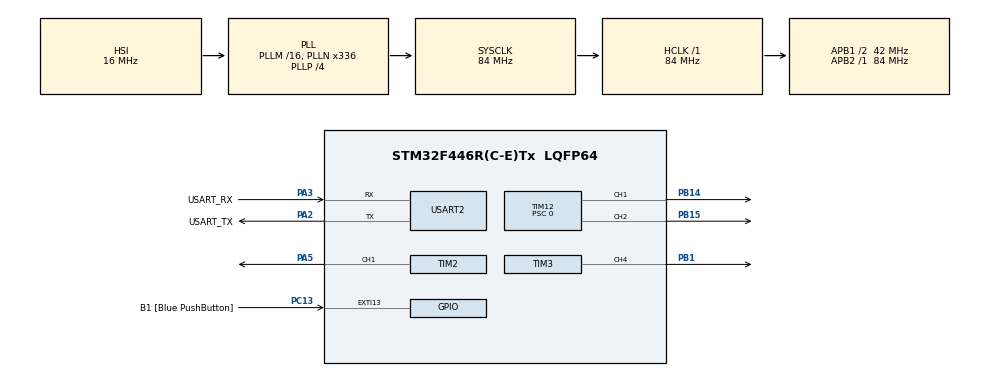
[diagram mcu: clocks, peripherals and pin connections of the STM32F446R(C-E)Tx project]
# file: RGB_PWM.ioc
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Mcu.Family=STM32F4
Mcu.Name=STM32F446R(C-E)Tx
Mcu.Package=LQFP64
NVIC.PriorityGroup=NVIC_PRIORITYGROUP_0
PA13.GPIO_Label=TMS
PA13.Mode=Serial_Wire
PA13.Signal=SYS_JTMS-SWDIO
PA14.GPIO_Label=TCK
PA14.Mode=Serial_Wire
PA14.Signal=SYS_JTCK-SWCLK
PA2.GPIO_Label=USART_TX
PA2.Mode=Asynchronous
PA2.Signal=USART2_TX
PA3.GPIO_Label=USART_RX
PA3.Mode=Asynchronous
PA3.Signal=USART2_RX
PA5.Signal=S_TIM2_CH1_ETR
PB1.Signal=S_TIM3_CH4
PB14.Signal=S_TIM12_CH1
PB15.Signal=S_TIM12_CH2
PB3.GPIO_Label=SWO
PB3.Signal=SYS_JTDO-SWO
PC13.GPIO_Label=B1 [Blue PushButton]
PC13.GPIO_ModeDefaultEXTI=GPIO_MODE_IT_FALLING
PC13.Signal=GPXTI13
PC14-OSC32_IN.Mode=LSE-External-Oscillator
PC14-OSC32_IN.Signal=RCC_OSC32_IN
PC15-OSC32_OUT.Mode=LSE-External-Oscillator
PC15-OSC32_OUT.Signal=RCC_OSC32_OUT
PH0-OSC_IN.Mode=HSE-External-Oscillator
PH0-OSC_IN.Signal=RCC_OSC_IN
PH1-OSC_OUT.Mode=HSE-External-Oscillator
PH1-OSC_OUT.Signal=RCC_OSC_OUT
ProjectManager.HeapSize=0x200
ProjectManager.StackSize=0x400
ProjectManager.TargetToolchain=STM32CubeIDE
RCC.48MHZClocksFreq_Value=84000000
RCC.AHBFreq_Value=84000000
RCC.APB1CLKDivider=RCC_HCLK_DIV2
RCC.APB1Freq_Value=42000000
RCC.APB1TimFreq_Value=84000000
RCC.APB2Freq_Value=84000000
RCC.APB2TimFreq_Value=84000000
RCC.CortexFreq_Value=84000000
RCC.FLatency-AdvancedSettings=FLASH_LATENCY_2
RCC.HCLKFreq_Value=84000000
RCC.HSE_VALUE=8000000
RCC.HSI_VALUE=16000000
RCC.PLLN=336
RCC.PLLP=RCC_PLLP_DIV4
RCC.SYSCLKFreq_VALUE=84000000
RCC.SYSCLKSource=RCC_SYSCLKSOURCE_PLLCLK
RCC.USBFreq_Value=168000000
RCC.VCOOutputFreq_Value=336000000
SH.S_TIM12_CH1.0=TIM12_CH1,PWM Generation1 CH1
SH.S_TIM12_CH2.0=TIM12_CH2,PWM Generation2 CH2
SH.S_TIM2_CH1_ETR.0=TIM2_CH1,PWM Generation1 CH1
SH.S_TIM3_CH4.0=TIM3_CH4,PWM Generation4 CH4
TIM12.AutoReloadPreload=TIM_AUTORELOAD_PRELOAD_ENABLE
TIM12.Channel-PWM\ Generation1\ CH1=TIM_CHANNEL_1
TIM12.Channel-PWM\ Generation2\ CH2=TIM_CHANNEL_2
TIM12.Period=65535
TIM12.Prescaler=0
TIM12.Pulse-PWM\ Generation1\ CH1=0
TIM12.Pulse-PWM\ Generation2\ CH2=0
TIM2.AutoReloadPreload=TIM_AUTORELOAD_PRELOAD_ENABLE
TIM2.Channel-PWM\ Generation1\ CH1=TIM_CHANNEL_1
TIM2.Period=65535
TIM2.Prescaler=0
TIM2.Pulse-PWM\ Generation1\ CH1=0
TIM3.AutoReloadPreload=TIM_AUTORELOAD_PRELOAD_ENABLE
TIM3.Channel-PWM\ Generation4\ CH4=TIM_CHANNEL_4
TIM3.Period=65535
TIM3.Prescaler=0
TIM3.Pulse-PWM\ Generation4\ CH4=0
USART2.VirtualMode=VM_ASYNC
VP_TIM12_VS_ClockSourceINT.Mode=Internal
VP_TIM2_VS_ClockSourceINT.Mode=Internal
VP_TIM3_VS_ClockSourceINT.Mode=Internal
board=NUCLEO-F446RE

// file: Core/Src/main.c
/* USER CODE BEGIN Header */
/**
  ******************************************************************************
  * @file           : main.c
  * @brief          : Main program body
  ******************************************************************************
  * @attention
  *
  * Copyright (c) 2022 STMicroelectronics.
  * All rights reserved.
  *
  * This software is licensed under terms that can be found in the LICENSE file
  * in the root directory of this software component.
  * If no LICENSE file comes with this software, it is provided AS-IS.
  *
  ******************************************************************************
  */
/* USER CODE END Header */
#include "main.h"

TIM_HandleTypeDef htim2;
TIM_HandleTypeDef htim3;
TIM_HandleTypeDef htim12;

UART_HandleTypeDef huart2;

void SystemClock_Config(void);
static void MX_GPIO_Init(void);
static void MX_USART2_UART_Init(void);
static void MX_TIM3_Init(void);
static void MX_TIM12_Init(void);
static void MX_TIM2_Init(void);

int main(void)
{

  /* MCU Configuration--------------------------------------------------------*/

  /* Reset of all peripherals, Initializes the Flash interface and the Systick. */
  HAL_Init();

  /* Configure the system clock */
  SystemClock_Config();

  /* Initialize all configured peripherals */
  MX_GPIO_Init();
  MX_USART2_UART_Init();
  MX_TIM3_Init();
  MX_TIM12_Init();
  MX_TIM2_Init();
  /* USER CODE BEGIN 2 */
  HAL_TIM_PWM_Start(&htim3, TIM_CHANNEL_4);  //B
  HAL_TIM_PWM_Start(&htim12, TIM_CHANNEL_1); //R
  HAL_TIM_PWM_Start(&htim12, TIM_CHANNEL_2); //G
  HAL_TIM_PWM_Start(&htim2, TIM_CHANNEL_1);
//  TIM12->CCR1 = 500;
//  TIM12->CCR2 = 500;
//  TIM3->CCR4 = 500;
  /* USER CODE END 2 */

  /* Infinite loop */
  while (1)
  {

    /* USER CODE BEGIN 3 */
	  int32_t CH1_DC = 0;
	  int32_t R = 0;
	  int32_t G = 0;
	  int32_t B = 0;
//      while(CH1_DC < 65535)
//      {
//          TIM2->CCR1 = CH1_DC;
//          TIM12->CCR1 = R;
//          TIM12->CCR2 = G;
//          TIM3->CCR4 = B;
//          HAL_Delay(1);
//          CH1_DC += 70;
//      }
//      while(CH1_DC > 0)
//      {
//          TIM2->CCR1 = CH1_DC;
//          TIM12->CCR1 = R;
//          TIM12->CCR2 = G;
//          TIM3->CCR4 = B;
//          HAL_Delay(1);
//          CH1_DC -= 70;
//      }
	  int step = 10000;
	  for(B = 0; B < 65535;  B = B + 1000){
		  for(G = 0; G < 65535;  G = G + step){
			  for(R = 0; R < 65535;  R = R + step){
					//TIM2->CCR1 = CH1_DC;
					TIM12->CCR1 = R;
					TIM12->CCR2 = G;
					TIM3->CCR4 = B;
					HAL_Delay(1);
			  }
		  }
	  }
  }
  /* USER CODE END 3 */
}

void SystemClock_Config(void)
{
  RCC_OscInitTypeDef RCC_OscInitStruct = {0};
  RCC_ClkInitTypeDef RCC_ClkInitStruct = {0};

  /** Configure the main internal regulator output voltage
  */
  __HAL_RCC_PWR_CLK_ENABLE();
  __HAL_PWR_VOLTAGESCALING_CONFIG(PWR_REGULATOR_VOLTAGE_SCALE3);

  /** Initializes the RCC Oscillators according to the specified parameters
  * in the RCC_OscInitTypeDef structure.
  */
  RCC_OscInitStruct.OscillatorType = RCC_OSCILLATORTYPE_HSI;
  RCC_OscInitStruct.HSIState = RCC_HSI_ON;
  RCC_OscInitStruct.HSICalibrationValue = RCC_HSICALIBRATION_DEFAULT;
  RCC_OscInitStruct.PLL.PLLState = RCC_PLL_ON;
  RCC_OscInitStruct.PLL.PLLSource = RCC_PLLSOURCE_HSI;
  RCC_OscInitStruct.PLL.PLLM = 16;
  RCC_OscInitStruct.PLL.PLLN = 336;
  RCC_OscInitStruct.PLL.PLLP = RCC_PLLP_DIV4;
  RCC_OscInitStruct.PLL.PLLQ = 2;
  RCC_OscInitStruct.PLL.PLLR = 2;
  if (HAL_RCC_OscConfig(&RCC_OscInitStruct) != HAL_OK)
  {
    Error_Handler();
  }

  /** Initializes the CPU, AHB and APB buses clocks
  */
  RCC_ClkInitStruct.ClockType = RCC_CLOCKTYPE_HCLK|RCC_CLOCKTYPE_SYSCLK
                              |RCC_CLOCKTYPE_PCLK1|RCC_CLOCKTYPE_PCLK2;
  RCC_ClkInitStruct.SYSCLKSource = RCC_SYSCLKSOURCE_PLLCLK;
  RCC_ClkInitStruct.AHBCLKDivider = RCC_SYSCLK_DIV1;
  RCC_ClkInitStruct.APB1CLKDivider = RCC_HCLK_DIV2;
  RCC_ClkInitStruct.APB2CLKDivider = RCC_HCLK_DIV1;

  if (HAL_RCC_ClockConfig(&RCC_ClkInitStruct, FLASH_LATENCY_2) != HAL_OK)
  {
    Error_Handler();
  }
}

static void MX_TIM2_Init(void)
{

  TIM_ClockConfigTypeDef sClockSourceConfig = {0};
  TIM_MasterConfigTypeDef sMasterConfig = {0};
  TIM_OC_InitTypeDef sConfigOC = {0};

  htim2.Instance = TIM2;
  htim2.Init.Prescaler = 0;
  htim2.Init.CounterMode = TIM_COUNTERMODE_UP;
  htim2.Init.Period = 65535;
  htim2.Init.ClockDivision = TIM_CLOCKDIVISION_DIV1;
  htim2.Init.AutoReloadPreload = TIM_AUTORELOAD_PRELOAD_ENABLE;
  if (HAL_TIM_Base_Init(&htim2) != HAL_OK)
  {
    Error_Handler();
  }
  sClockSourceConfig.ClockSource = TIM_CLOCKSOURCE_INTERNAL;
  if (HAL_TIM_ConfigClockSource(&htim2, &sClockSourceConfig) != HAL_OK)
  {
    Error_Handler();
  }
  if (HAL_TIM_PWM_Init(&htim2) != HAL_OK)
  {
    Error_Handler();
  }
  sMasterConfig.MasterOutputTrigger = TIM_TRGO_RESET;
  sMasterConfig.MasterSlaveMode = TIM_MASTERSLAVEMODE_DISABLE;
  if (HAL_TIMEx_MasterConfigSynchronization(&htim2, &sMasterConfig) != HAL_OK)
  {
    Error_Handler();
  }
  sConfigOC.OCMode = TIM_OCMODE_PWM1;
  sConfigOC.Pulse = 0;
  sConfigOC.OCPolarity = TIM_OCPOLARITY_HIGH;
  sConfigOC.OCFastMode = TIM_OCFAST_DISABLE;
  if (HAL_TIM_PWM_ConfigChannel(&htim2, &sConfigOC, TIM_CHANNEL_1) != HAL_OK)
  {
    Error_Handler();
  }
  HAL_TIM_MspPostInit(&htim2);

}

static void MX_TIM3_Init(void)
{

  TIM_ClockConfigTypeDef sClockSourceConfig = {0};
  TIM_MasterConfigTypeDef sMasterConfig = {0};
  TIM_OC_InitTypeDef sConfigOC = {0};

  htim3.Instance = TIM3;
  htim3.Init.Prescaler = 0;
  htim3.Init.CounterMode = TIM_COUNTERMODE_UP;
  htim3.Init.Period = 65535;
  htim3.Init.ClockDivision = TIM_CLOCKDIVISION_DIV1;
  htim3.Init.AutoReloadPreload = TIM_AUTORELOAD_PRELOAD_ENABLE;
  if (HAL_TIM_Base_Init(&htim3) != HAL_OK)
  {
    Error_Handler();
  }
  sClockSourceConfig.ClockSource = TIM_CLOCKSOURCE_INTERNAL;
  if (HAL_TIM_ConfigClockSource(&htim3, &sClockSourceConfig) != HAL_OK)
  {
    Error_Handler();
  }
  if (HAL_TIM_PWM_Init(&htim3) != HAL_OK)
  {
    Error_Handler();
  }
  sMasterConfig.MasterOutputTrigger = TIM_TRGO_RESET;
  sMasterConfig.MasterSlaveMode = TIM_MASTERSLAVEMODE_DISABLE;
  if (HAL_TIMEx_MasterConfigSynchronization(&htim3, &sMasterConfig) != HAL_OK)
  {
    Error_Handler();
  }
  sConfigOC.OCMode = TIM_OCMODE_PWM1;
  sConfigOC.Pulse = 0;
  sConfigOC.OCPolarity = TIM_OCPOLARITY_HIGH;
  sConfigOC.OCFastMode = TIM_OCFAST_DISABLE;
  if (HAL_TIM_PWM_ConfigChannel(&htim3, &sConfigOC, TIM_CHANNEL_4) != HAL_OK)
  {
    Error_Handler();
  }
  HAL_TIM_MspPostInit(&htim3);

}

static void MX_TIM12_Init(void)
{

  TIM_ClockConfigTypeDef sClockSourceConfig = {0};
  TIM_OC_InitTypeDef sConfigOC = {0};

  htim12.Instance = TIM12;
  htim12.Init.Prescaler = 0;
  htim12.Init.CounterMode = TIM_COUNTERMODE_UP;
  htim12.Init.Period = 65535;
  htim12.Init.ClockDivision = TIM_CLOCKDIVISION_DIV1;
  htim12.Init.AutoReloadPreload = TIM_AUTORELOAD_PRELOAD_ENABLE;
  if (HAL_TIM_Base_Init(&htim12) != HAL_OK)
  {
    Error_Handler();
  }
  sClockSourceConfig.ClockSource = TIM_CLOCKSOURCE_INTERNAL;
  if (HAL_TIM_ConfigClockSource(&htim12, &sClockSourceConfig) != HAL_OK)
  {
    Error_Handler();
  }
  if (HAL_TIM_PWM_Init(&htim12) != HAL_OK)
  {
    Error_Handler();
  }
  sConfigOC.OCMode = TIM_OCMODE_PWM1;
  sConfigOC.Pulse = 0;
  sConfigOC.OCPolarity = TIM_OCPOLARITY_HIGH;
  sConfigOC.OCFastMode = TIM_OCFAST_DISABLE;
  if (HAL_TIM_PWM_ConfigChannel(&htim12, &sConfigOC, TIM_CHANNEL_1) != HAL_OK)
  {
    Error_Handler();
  }
  if (HAL_TIM_PWM_ConfigChannel(&htim12, &sConfigOC, TIM_CHANNEL_2) != HAL_OK)
  {
    Error_Handler();
  }
  HAL_TIM_MspPostInit(&htim12);

}

static void MX_USART2_UART_Init(void)
{

  huart2.Instance = USART2;
  huart2.Init.BaudRate = 115200;
  huart2.Init.WordLength = UART_WORDLENGTH_8B;
  huart2.Init.StopBits = UART_STOPBITS_1;
  huart2.Init.Parity = UART_PARITY_NONE;
  huart2.Init.Mode = UART_MODE_TX_RX;
  huart2.Init.HwFlowCtl = UART_HWCONTROL_NONE;
  huart2.Init.OverSampling = UART_OVERSAMPLING_16;
  if (HAL_UART_Init(&huart2) != HAL_OK)
  {
    Error_Handler();
  }

}

static void MX_GPIO_Init(void)
{
  GPIO_InitTypeDef GPIO_InitStruct = {0};

  /* GPIO Ports Clock Enable */
  __HAL_RCC_GPIOC_CLK_ENABLE();
  __HAL_RCC_GPIOH_CLK_ENABLE();
  __HAL_RCC_GPIOA_CLK_ENABLE();
  __HAL_RCC_GPIOB_CLK_ENABLE();

  /*Configure GPIO pin : B1_Pin */
  GPIO_InitStruct.Pin = B1_Pin;
  GPIO_InitStruct.Mode = GPIO_MODE_IT_FALLING;
  GPIO_InitStruct.Pull = GPIO_NOPULL;
  HAL_GPIO_Init(B1_GPIO_Port, &GPIO_InitStruct);

}

void Error_Handler(void)
{
  __disable_irq();
  while (1)
  {
  }
}
